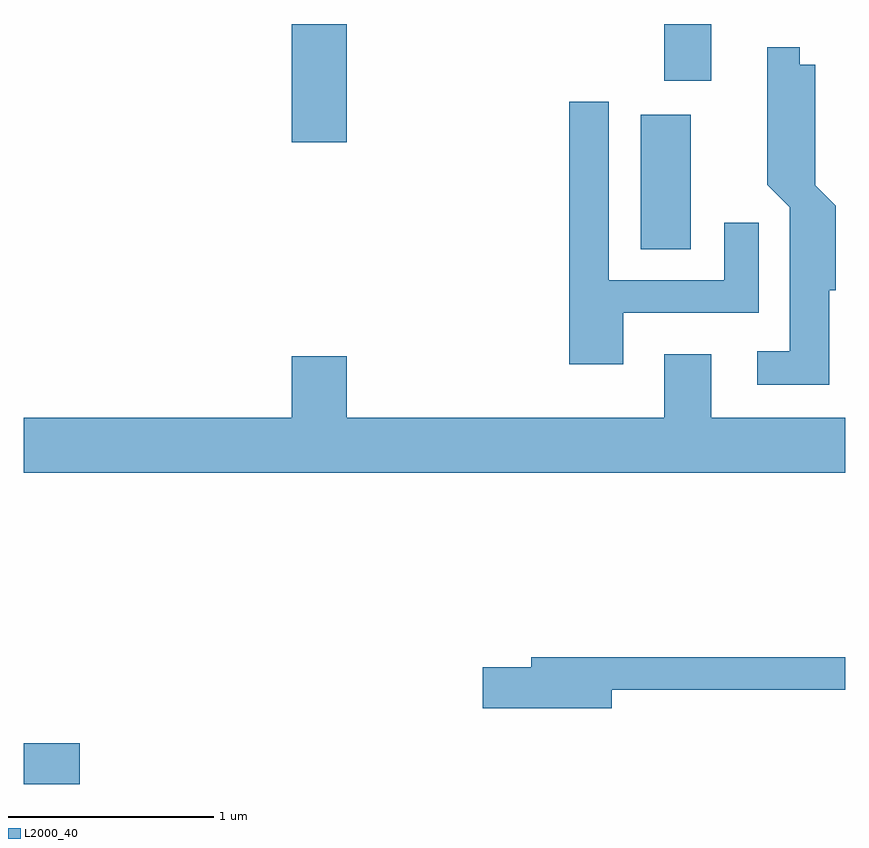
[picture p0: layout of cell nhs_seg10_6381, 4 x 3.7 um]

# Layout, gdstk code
import gdstk
lib = gdstk.Library(unit=1e-6, precision=1e-09)
def R(c, l, rs):  # rectangles x0, y0, x1, y1
    for r in rs: c.add(gdstk.rectangle(r[:2], r[2:], *l))
def P(c, l, *ps):  # polygons
    for p in ps: c.add(gdstk.Polygon(p, *l))
L2000_40 = (2000, 40)

nhs_seg10_6381 = lib.new_cell('nhs_seg10_6381')
R(nhs_seg10_6381, L2000_40, [(373.611,2136.821,373.884,2137.019), (376.616,2139.426,376.859,2140.079), (374.916,2139.946,375.184,2140.522), (376.731,2140.246,376.959,2140.522)])
P(nhs_seg10_6381, L2000_40, [(377.534,2139.226),(377.564,2139.226),(377.564,2139.637),(377.464,2139.737),(377.464,2140.324),(377.389,2140.324),(377.389,2140.408),(377.231,2140.408),(377.231,2139.739),(377.341,2139.629),(377.341,2138.929),(377.183,2138.929),(377.183,2138.766),(377.534,2138.766)],
  [(376.529,2139.116),(377.189,2139.116),(377.189,2139.553),(377.021,2139.553),(377.021,2139.274),(376.459,2139.274),(376.459,2140.144),(376.266,2140.144),(376.266,2138.866),(376.529,2138.866)],
  [(377.611,2138.604),(376.959,2138.604),(376.959,2138.914),(376.731,2138.914),(376.731,2138.604),(375.184,2138.604),(375.184,2138.904),(374.916,2138.904),(374.916,2138.604),(373.611,2138.604),(373.611,2138.336),(377.611,2138.336)],
  [(376.474,2137.281),(377.611,2137.281),(377.611,2137.439),(376.081,2137.439),(376.081,2137.389),(375.846,2137.389),(375.846,2137.191),(376.474,2137.191)])

lib.write_gds('nhs_seg10_6381.gds')
